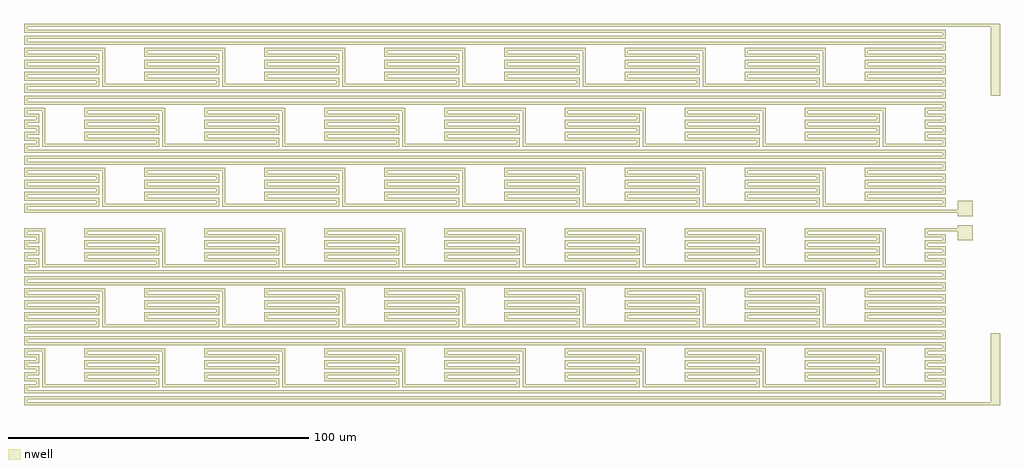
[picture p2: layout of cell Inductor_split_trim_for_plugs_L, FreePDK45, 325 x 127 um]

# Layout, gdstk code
import gdstk
lib = gdstk.Library(unit=1e-6, precision=1e-09)
def R(c, l, rs):  # rectangles x0, y0, x1, y1
    for r in rs: c.add(gdstk.rectangle(r[:2], r[2:], *l))
def P(c, l, *ps):  # polygons
    for p in ps: c.add(gdstk.Polygon(p, *l))
nwell = (3, 0)

inductor_split_trim_for_ = lib.new_cell('Inductor_split_trim_for_plugs_L')
R(inductor_split_trim_for_, nwell, [(-162.5,-63.5,144.5,-62.5), (144.5,-63.5,162.5,-62.5), (159.5,-63,162.5,-39.5), (148.5,-8.5,153.5,-3.5), (144.5,-5.5,148.5,-4.5), (148.5,-0.5,153.5,4.5), (-17.5,0.5,144.5,1.5), (144.5,0.5,148.5,1.5), (159.5,39.5,162.5,63), (-162.5,62.5,144.5,63.5), (144.5,62.5,162.5,63.5)])
P(inductor_split_trim_for_, nwell, [(-135.5,-31.5),(-135.5,-36.5),(-98.5,-36.5),(-98.5,-35.5),(-122.5,-35.5),(-122.5,-32.5),(-98.5,-32.5),(-98.5,-31.5),(-97.5,-31.5),(-97.5,-33.5),(-121.5,-33.5),(-121.5,-34.5),(-97.5,-34.5),(-97.5,-37.5),(-136.5,-37.5),(-136.5,-31.5)],
  [(-95.5,-31.5),(-95.5,-36.5),(-58.5,-36.5),(-58.5,-35.5),(-82.5,-35.5),(-82.5,-32.5),(-58.5,-32.5),(-58.5,-31.5),(-57.5,-31.5),(-57.5,-33.5),(-81.5,-33.5),(-81.5,-34.5),(-57.5,-34.5),(-57.5,-37.5),(-96.5,-37.5),(-96.5,-31.5)],
  [(-55.5,-31.5),(-55.5,-36.5),(-18.5,-36.5),(-18.5,-35.5),(-42.5,-35.5),(-42.5,-32.5),(-18.5,-32.5),(-18.5,-31.5),(-17.5,-31.5),(-17.5,-33.5),(-41.5,-33.5),(-41.5,-34.5),(-17.5,-34.5),(-17.5,-37.5),(-56.5,-37.5),(-56.5,-31.5)],
  [(-15.5,-31.5),(-15.5,-36.5),(21.5,-36.5),(21.5,-35.5),(-2.5,-35.5),(-2.5,-32.5),(21.5,-32.5),(21.5,-31.5),(22.5,-31.5),(22.5,-33.5),(-1.5,-33.5),(-1.5,-34.5),(22.5,-34.5),(22.5,-37.5),(-16.5,-37.5),(-16.5,-31.5)],
  [(24.5,-31.5),(24.5,-36.5),(61.5,-36.5),(61.5,-35.5),(37.5,-35.5),(37.5,-32.5),(61.5,-32.5),(61.5,-31.5),(62.5,-31.5),(62.5,-33.5),(38.5,-33.5),(38.5,-34.5),(62.5,-34.5),(62.5,-37.5),(23.5,-37.5),(23.5,-31.5)],
  [(64.5,-31.5),(64.5,-36.5),(101.5,-36.5),(101.5,-35.5),(77.5,-35.5),(77.5,-32.5),(101.5,-32.5),(101.5,-31.5),(102.5,-31.5),(102.5,-33.5),(78.5,-33.5),(78.5,-34.5),(102.5,-34.5),(102.5,-37.5),(63.5,-37.5),(63.5,-31.5)],
  [(104.5,-31.5),(104.5,-36.5),(143.5,-36.5),(143.5,-35.5),(117.5,-35.5),(117.5,-32.5),(143.5,-32.5),(143.5,-31.5),(144.5,-31.5),(144.5,-33.5),(118.5,-33.5),(118.5,-34.5),(144.5,-34.5),(144.5,-37.5),(103.5,-37.5),(103.5,-31.5)],
  [(-162.5,-31.5),(-162.5,-28.5),(-138.5,-28.5),(-138.5,-27.5),(-162.5,-27.5),(-162.5,-24.5),(-135.5,-24.5),(-135.5,-31.5),(-136.5,-31.5),(-136.5,-25.5),(-161.5,-25.5),(-161.5,-26.5),(-137.5,-26.5),(-137.5,-29.5),(-161.5,-29.5),(-161.5,-30.5),(-137.5,-30.5),(-137.5,-31.5)],
  [(-122.5,-31.5),(-122.5,-28.5),(-98.5,-28.5),(-98.5,-27.5),(-122.5,-27.5),(-122.5,-24.5),(-95.5,-24.5),(-95.5,-31.5),(-96.5,-31.5),(-96.5,-25.5),(-121.5,-25.5),(-121.5,-26.5),(-97.5,-26.5),(-97.5,-29.5),(-121.5,-29.5),(-121.5,-30.5),(-97.5,-30.5),(-97.5,-31.5)],
  [(-82.5,-31.5),(-82.5,-28.5),(-58.5,-28.5),(-58.5,-27.5),(-82.5,-27.5),(-82.5,-24.5),(-55.5,-24.5),(-55.5,-31.5),(-56.5,-31.5),(-56.5,-25.5),(-81.5,-25.5),(-81.5,-26.5),(-57.5,-26.5),(-57.5,-29.5),(-81.5,-29.5),(-81.5,-30.5),(-57.5,-30.5),(-57.5,-31.5)],
  [(-42.5,-31.5),(-42.5,-28.5),(-18.5,-28.5),(-18.5,-27.5),(-42.5,-27.5),(-42.5,-24.5),(-15.5,-24.5),(-15.5,-31.5),(-16.5,-31.5),(-16.5,-25.5),(-41.5,-25.5),(-41.5,-26.5),(-17.5,-26.5),(-17.5,-29.5),(-41.5,-29.5),(-41.5,-30.5),(-17.5,-30.5),(-17.5,-31.5)],
  [(-2.5,-31.5),(-2.5,-28.5),(21.5,-28.5),(21.5,-27.5),(-2.5,-27.5),(-2.5,-24.5),(24.5,-24.5),(24.5,-31.5),(23.5,-31.5),(23.5,-25.5),(-1.5,-25.5),(-1.5,-26.5),(22.5,-26.5),(22.5,-29.5),(-1.5,-29.5),(-1.5,-30.5),(22.5,-30.5),(22.5,-31.5)],
  [(37.5,-31.5),(37.5,-28.5),(61.5,-28.5),(61.5,-27.5),(37.5,-27.5),(37.5,-24.5),(64.5,-24.5),(64.5,-31.5),(63.5,-31.5),(63.5,-25.5),(38.5,-25.5),(38.5,-26.5),(62.5,-26.5),(62.5,-29.5),(38.5,-29.5),(38.5,-30.5),(62.5,-30.5),(62.5,-31.5)],
  [(77.5,-31.5),(77.5,-28.5),(101.5,-28.5),(101.5,-27.5),(77.5,-27.5),(77.5,-24.5),(104.5,-24.5),(104.5,-31.5),(103.5,-31.5),(103.5,-25.5),(78.5,-25.5),(78.5,-26.5),(102.5,-26.5),(102.5,-29.5),(78.5,-29.5),(78.5,-30.5),(102.5,-30.5),(102.5,-31.5)],
  [(-22.5,-61.5),(-161.5,-61.5),(-161.5,-62.5),(-162.5,-62.5),(-162.5,-60.5),(-22.5,-60.5)],
  [(-22.5,-59.5),(-162.5,-59.5),(-162.5,-56.5),(-158.5,-56.5),(-158.5,-55.5),(-162.5,-55.5),(-162.5,-52.5),(-158.5,-52.5),(-158.5,-51.5),(-162.5,-51.5),(-162.5,-48.5),(-158.5,-48.5),(-158.5,-47.5),(-162.5,-47.5),(-162.5,-44.5),(-155.5,-44.5),(-155.5,-56.5),(-118.5,-56.5),(-118.5,-55.5),(-142.5,-55.5),(-142.5,-52.5),(-118.5,-52.5),(-118.5,-51.5),(-142.5,-51.5),(-142.5,-48.5),(-118.5,-48.5),(-118.5,-47.5),(-142.5,-47.5),(-142.5,-44.5),(-115.5,-44.5),(-115.5,-56.5),(-78.5,-56.5),(-78.5,-55.5),(-102.5,-55.5),(-102.5,-52.5),(-78.5,-52.5),(-78.5,-51.5),(-102.5,-51.5),(-102.5,-48.5),(-78.5,-48.5),(-78.5,-47.5),(-102.5,-47.5),(-102.5,-44.5),(-75.5,-44.5),(-75.5,-56.5),(-38.5,-56.5),(-38.5,-55.5),(-62.5,-55.5),(-62.5,-52.5),(-38.5,-52.5),(-38.5,-51.5),(-62.5,-51.5),(-62.5,-48.5),(-38.5,-48.5),(-38.5,-47.5),(-62.5,-47.5),(-62.5,-44.5),(-35.5,-44.5),(-35.5,-56.5),(-22.5,-56.5),(-22.5,-57.5),(-36.5,-57.5),(-36.5,-45.5),(-61.5,-45.5),(-61.5,-46.5),(-37.5,-46.5),(-37.5,-49.5),(-61.5,-49.5),(-61.5,-50.5),(-37.5,-50.5),(-37.5,-53.5),(-61.5,-53.5),(-61.5,-54.5),(-37.5,-54.5),(-37.5,-57.5),(-76.5,-57.5),(-76.5,-45.5),(-101.5,-45.5),(-101.5,-46.5),(-77.5,-46.5),(-77.5,-49.5),(-101.5,-49.5),(-101.5,-50.5),(-77.5,-50.5),(-77.5,-53.5),(-101.5,-53.5),(-101.5,-54.5),(-77.5,-54.5),(-77.5,-57.5),(-116.5,-57.5),(-116.5,-45.5),(-141.5,-45.5),(-141.5,-46.5),(-117.5,-46.5),(-117.5,-49.5),(-141.5,-49.5),(-141.5,-50.5),(-117.5,-50.5),(-117.5,-53.5),(-141.5,-53.5),(-141.5,-54.5),(-117.5,-54.5),(-117.5,-57.5),(-156.5,-57.5),(-156.5,-45.5),(-161.5,-45.5),(-161.5,-46.5),(-157.5,-46.5),(-157.5,-49.5),(-161.5,-49.5),(-161.5,-50.5),(-157.5,-50.5),(-157.5,-53.5),(-161.5,-53.5),(-161.5,-54.5),(-157.5,-54.5),(-157.5,-57.5),(-161.5,-57.5),(-161.5,-58.5),(-22.5,-58.5)],
  [(-22.5,-43.5),(-162.5,-43.5),(-162.5,-40.5),(-22.5,-40.5),(-22.5,-41.5),(-161.5,-41.5),(-161.5,-42.5),(-22.5,-42.5)],
  [(-22.5,-39.5),(-162.5,-39.5),(-162.5,-36.5),(-138.5,-36.5),(-138.5,-35.5),(-162.5,-35.5),(-162.5,-32.5),(-138.5,-32.5),(-138.5,-31.5),(-137.5,-31.5),(-137.5,-33.5),(-161.5,-33.5),(-161.5,-34.5),(-137.5,-34.5),(-137.5,-37.5),(-161.5,-37.5),(-161.5,-38.5),(-22.5,-38.5)],
  [(-22.5,-60.5),(143.5,-60.5),(143.5,-59.5),(-22.5,-59.5),(-22.5,-58.5),(144.5,-58.5),(144.5,-61.5),(-22.5,-61.5)],
  [(-22.5,-56.5),(1.5,-56.5),(1.5,-55.5),(-22.5,-55.5),(-22.5,-52.5),(1.5,-52.5),(1.5,-51.5),(-22.5,-51.5),(-22.5,-48.5),(1.5,-48.5),(1.5,-47.5),(-22.5,-47.5),(-22.5,-44.5),(4.5,-44.5),(4.5,-56.5),(41.5,-56.5),(41.5,-55.5),(17.5,-55.5),(17.5,-52.5),(41.5,-52.5),(41.5,-51.5),(17.5,-51.5),(17.5,-48.5),(41.5,-48.5),(41.5,-47.5),(17.5,-47.5),(17.5,-44.5),(44.5,-44.5),(44.5,-56.5),(81.5,-56.5),(81.5,-55.5),(57.5,-55.5),(57.5,-52.5),(81.5,-52.5),(81.5,-51.5),(57.5,-51.5),(57.5,-48.5),(81.5,-48.5),(81.5,-47.5),(57.5,-47.5),(57.5,-44.5),(84.5,-44.5),(84.5,-56.5),(121.5,-56.5),(121.5,-55.5),(97.5,-55.5),(97.5,-52.5),(121.5,-52.5),(121.5,-51.5),(97.5,-51.5),(97.5,-48.5),(121.5,-48.5),(121.5,-47.5),(97.5,-47.5),(97.5,-44.5),(124.5,-44.5),(124.5,-56.5),(143.5,-56.5),(143.5,-55.5),(137.5,-55.5),(137.5,-52.5),(143.5,-52.5),(143.5,-51.5),(137.5,-51.5),(137.5,-48.5),(143.5,-48.5),(143.5,-47.5),(137.5,-47.5),(137.5,-44.5),(143.5,-44.5),(143.5,-43.5),(-22.5,-43.5),(-22.5,-42.5),(144.5,-42.5),(144.5,-45.5),(138.5,-45.5),(138.5,-46.5),(144.5,-46.5),(144.5,-49.5),(138.5,-49.5),(138.5,-50.5),(144.5,-50.5),(144.5,-53.5),(138.5,-53.5),(138.5,-54.5),(144.5,-54.5),(144.5,-57.5),(123.5,-57.5),(123.5,-45.5),(98.5,-45.5),(98.5,-46.5),(122.5,-46.5),(122.5,-49.5),(98.5,-49.5),(98.5,-50.5),(122.5,-50.5),(122.5,-53.5),(98.5,-53.5),(98.5,-54.5),(122.5,-54.5),(122.5,-57.5),(83.5,-57.5),(83.5,-45.5),(58.5,-45.5),(58.5,-46.5),(82.5,-46.5),(82.5,-49.5),(58.5,-49.5),(58.5,-50.5),(82.5,-50.5),(82.5,-53.5),(58.5,-53.5),(58.5,-54.5),(82.5,-54.5),(82.5,-57.5),(43.5,-57.5),(43.5,-45.5),(18.5,-45.5),(18.5,-46.5),(42.5,-46.5),(42.5,-49.5),(18.5,-49.5),(18.5,-50.5),(42.5,-50.5),(42.5,-53.5),(18.5,-53.5),(18.5,-54.5),(42.5,-54.5),(42.5,-57.5),(3.5,-57.5),(3.5,-45.5),(-21.5,-45.5),(-21.5,-46.5),(2.5,-46.5),(2.5,-49.5),(-21.5,-49.5),(-21.5,-50.5),(2.5,-50.5),(2.5,-53.5),(-21.5,-53.5),(-21.5,-54.5),(2.5,-54.5),(2.5,-57.5),(-22.5,-57.5)],
  [(-22.5,-40.5),(143.5,-40.5),(143.5,-39.5),(-22.5,-39.5),(-22.5,-38.5),(144.5,-38.5),(144.5,-41.5),(-22.5,-41.5)],
  [(2.5,-23.5),(-162.5,-23.5),(-162.5,-20.5),(2.5,-20.5),(2.5,-21.5),(-161.5,-21.5),(-161.5,-22.5),(2.5,-22.5)],
  [(2.5,-19.5),(-162.5,-19.5),(-162.5,-16.5),(-158.5,-16.5),(-158.5,-15.5),(-162.5,-15.5),(-162.5,-12.5),(-158.5,-12.5),(-158.5,-11.5),(-162.5,-11.5),(-162.5,-8.5),(-158.5,-8.5),(-158.5,-7.5),(-162.5,-7.5),(-162.5,-4.5),(-155.5,-4.5),(-155.5,-16.5),(-118.5,-16.5),(-118.5,-15.5),(-142.5,-15.5),(-142.5,-12.5),(-118.5,-12.5),(-118.5,-11.5),(-142.5,-11.5),(-142.5,-8.5),(-118.5,-8.5),(-118.5,-7.5),(-142.5,-7.5),(-142.5,-4.5),(-115.5,-4.5),(-115.5,-16.5),(-78.5,-16.5),(-78.5,-15.5),(-102.5,-15.5),(-102.5,-12.5),(-78.5,-12.5),(-78.5,-11.5),(-102.5,-11.5),(-102.5,-8.5),(-78.5,-8.5),(-78.5,-7.5),(-102.5,-7.5),(-102.5,-4.5),(-75.5,-4.5),(-75.5,-16.5),(-38.5,-16.5),(-38.5,-15.5),(-62.5,-15.5),(-62.5,-12.5),(-38.5,-12.5),(-38.5,-11.5),(-62.5,-11.5),(-62.5,-8.5),(-38.5,-8.5),(-38.5,-7.5),(-62.5,-7.5),(-62.5,-4.5),(-35.5,-4.5),(-35.5,-16.5),(1.5,-16.5),(1.5,-15.5),(-22.5,-15.5),(-22.5,-12.5),(1.5,-12.5),(1.5,-11.5),(-22.5,-11.5),(-22.5,-8.5),(1.5,-8.5),(1.5,-7.5),(-22.5,-7.5),(-22.5,-4.5),(2.5,-4.5),(2.5,-5.5),(-21.5,-5.5),(-21.5,-6.5),(2.5,-6.5),(2.5,-9.5),(-21.5,-9.5),(-21.5,-10.5),(2.5,-10.5),(2.5,-13.5),(-21.5,-13.5),(-21.5,-14.5),(2.5,-14.5),(2.5,-17.5),(-36.5,-17.5),(-36.5,-5.5),(-61.5,-5.5),(-61.5,-6.5),(-37.5,-6.5),(-37.5,-9.5),(-61.5,-9.5),(-61.5,-10.5),(-37.5,-10.5),(-37.5,-13.5),(-61.5,-13.5),(-61.5,-14.5),(-37.5,-14.5),(-37.5,-17.5),(-76.5,-17.5),(-76.5,-5.5),(-101.5,-5.5),(-101.5,-6.5),(-77.5,-6.5),(-77.5,-9.5),(-101.5,-9.5),(-101.5,-10.5),(-77.5,-10.5),(-77.5,-13.5),(-101.5,-13.5),(-101.5,-14.5),(-77.5,-14.5),(-77.5,-17.5),(-116.5,-17.5),(-116.5,-5.5),(-141.5,-5.5),(-141.5,-6.5),(-117.5,-6.5),(-117.5,-9.5),(-141.5,-9.5),(-141.5,-10.5),(-117.5,-10.5),(-117.5,-13.5),(-141.5,-13.5),(-141.5,-14.5),(-117.5,-14.5),(-117.5,-17.5),(-156.5,-17.5),(-156.5,-5.5),(-161.5,-5.5),(-161.5,-6.5),(-157.5,-6.5),(-157.5,-9.5),(-161.5,-9.5),(-161.5,-10.5),(-157.5,-10.5),(-157.5,-13.5),(-161.5,-13.5),(-161.5,-14.5),(-157.5,-14.5),(-157.5,-17.5),(-161.5,-17.5),(-161.5,-18.5),(2.5,-18.5)],
  [(2.5,-22.5),(144.5,-22.5),(144.5,-25.5),(118.5,-25.5),(118.5,-26.5),(144.5,-26.5),(144.5,-29.5),(118.5,-29.5),(118.5,-30.5),(144.5,-30.5),(144.5,-31.5),(117.5,-31.5),(117.5,-28.5),(143.5,-28.5),(143.5,-27.5),(117.5,-27.5),(117.5,-24.5),(143.5,-24.5),(143.5,-23.5),(2.5,-23.5)],
  [(2.5,-20.5),(143.5,-20.5),(143.5,-19.5),(2.5,-19.5),(2.5,-18.5),(144.5,-18.5),(144.5,-21.5),(2.5,-21.5)],
  [(2.5,-4.5),(4.5,-4.5),(4.5,-16.5),(41.5,-16.5),(41.5,-15.5),(17.5,-15.5),(17.5,-12.5),(41.5,-12.5),(41.5,-11.5),(17.5,-11.5),(17.5,-8.5),(41.5,-8.5),(41.5,-7.5),(17.5,-7.5),(17.5,-4.5),(44.5,-4.5),(44.5,-16.5),(81.5,-16.5),(81.5,-15.5),(57.5,-15.5),(57.5,-12.5),(81.5,-12.5),(81.5,-11.5),(57.5,-11.5),(57.5,-8.5),(81.5,-8.5),(81.5,-7.5),(57.5,-7.5),(57.5,-4.5),(84.5,-4.5),(84.5,-16.5),(121.5,-16.5),(121.5,-15.5),(97.5,-15.5),(97.5,-12.5),(121.5,-12.5),(121.5,-11.5),(97.5,-11.5),(97.5,-8.5),(121.5,-8.5),(121.5,-7.5),(97.5,-7.5),(97.5,-4.5),(124.5,-4.5),(124.5,-16.5),(143.5,-16.5),(143.5,-15.5),(137.5,-15.5),(137.5,-12.5),(143.5,-12.5),(143.5,-11.5),(137.5,-11.5),(137.5,-8.5),(143.5,-8.5),(143.5,-7.5),(137.5,-7.5),(137.5,-4.5),(144.5,-4.5),(144.5,-5.5),(138.5,-5.5),(138.5,-6.5),(144.5,-6.5),(144.5,-9.5),(138.5,-9.5),(138.5,-10.5),(144.5,-10.5),(144.5,-13.5),(138.5,-13.5),(138.5,-14.5),(144.5,-14.5),(144.5,-17.5),(123.5,-17.5),(123.5,-5.5),(98.5,-5.5),(98.5,-6.5),(122.5,-6.5),(122.5,-9.5),(98.5,-9.5),(98.5,-10.5),(122.5,-10.5),(122.5,-13.5),(98.5,-13.5),(98.5,-14.5),(122.5,-14.5),(122.5,-17.5),(83.5,-17.5),(83.5,-5.5),(58.5,-5.5),(58.5,-6.5),(82.5,-6.5),(82.5,-9.5),(58.5,-9.5),(58.5,-10.5),(82.5,-10.5),(82.5,-13.5),(58.5,-13.5),(58.5,-14.5),(82.5,-14.5),(82.5,-17.5),(43.5,-17.5),(43.5,-5.5),(18.5,-5.5),(18.5,-6.5),(42.5,-6.5),(42.5,-9.5),(18.5,-9.5),(18.5,-10.5),(42.5,-10.5),(42.5,-13.5),(18.5,-13.5),(18.5,-14.5),(42.5,-14.5),(42.5,-17.5),(3.5,-17.5),(3.5,-5.5),(2.5,-5.5)],
  [(-155.5,29.5),(-155.5,23.5),(-118.5,23.5),(-118.5,24.5),(-142.5,24.5),(-142.5,27.5),(-118.5,27.5),(-118.5,28.5),(-142.5,28.5),(-142.5,29.5),(-117.5,29.5),(-117.5,26.5),(-141.5,26.5),(-141.5,25.5),(-117.5,25.5),(-117.5,22.5),(-156.5,22.5),(-156.5,29.5)],
  [(-115.5,29.5),(-115.5,23.5),(-78.5,23.5),(-78.5,24.5),(-102.5,24.5),(-102.5,27.5),(-78.5,27.5),(-78.5,28.5),(-102.5,28.5),(-102.5,29.5),(-77.5,29.5),(-77.5,26.5),(-101.5,26.5),(-101.5,25.5),(-77.5,25.5),(-77.5,22.5),(-116.5,22.5),(-116.5,29.5)],
  [(-75.5,29.5),(-75.5,23.5),(-38.5,23.5),(-38.5,24.5),(-62.5,24.5),(-62.5,27.5),(-38.5,27.5),(-38.5,28.5),(-62.5,28.5),(-62.5,29.5),(-37.5,29.5),(-37.5,26.5),(-61.5,26.5),(-61.5,25.5),(-37.5,25.5),(-37.5,22.5),(-76.5,22.5),(-76.5,29.5)],
  [(-35.5,29.5),(-35.5,23.5),(1.5,23.5),(1.5,24.5),(-22.5,24.5),(-22.5,27.5),(1.5,27.5),(1.5,28.5),(-22.5,28.5),(-22.5,29.5),(2.5,29.5),(2.5,26.5),(-21.5,26.5),(-21.5,25.5),(2.5,25.5),(2.5,22.5),(-36.5,22.5),(-36.5,29.5)],
  [(4.5,29.5),(4.5,23.5),(41.5,23.5),(41.5,24.5),(17.5,24.5),(17.5,27.5),(41.5,27.5),(41.5,28.5),(17.5,28.5),(17.5,29.5),(42.5,29.5),(42.5,26.5),(18.5,26.5),(18.5,25.5),(42.5,25.5),(42.5,22.5),(3.5,22.5),(3.5,29.5)],
  [(44.5,29.5),(44.5,23.5),(81.5,23.5),(81.5,24.5),(57.5,24.5),(57.5,27.5),(81.5,27.5),(81.5,28.5),(57.5,28.5),(57.5,29.5),(82.5,29.5),(82.5,26.5),(58.5,26.5),(58.5,25.5),(82.5,25.5),(82.5,22.5),(43.5,22.5),(43.5,29.5)],
  [(84.5,29.5),(84.5,23.5),(121.5,23.5),(121.5,24.5),(97.5,24.5),(97.5,27.5),(121.5,27.5),(121.5,28.5),(97.5,28.5),(97.5,29.5),(122.5,29.5),(122.5,26.5),(98.5,26.5),(98.5,25.5),(122.5,25.5),(122.5,22.5),(83.5,22.5),(83.5,29.5)],
  [(124.5,29.5),(124.5,23.5),(143.5,23.5),(143.5,24.5),(137.5,24.5),(137.5,27.5),(143.5,27.5),(143.5,28.5),(137.5,28.5),(137.5,29.5),(144.5,29.5),(144.5,26.5),(138.5,26.5),(138.5,25.5),(144.5,25.5),(144.5,22.5),(123.5,22.5),(123.5,29.5)],
  [(-162.5,29.5),(-162.5,31.5),(-158.5,31.5),(-158.5,32.5),(-162.5,32.5),(-162.5,35.5),(-155.5,35.5),(-155.5,29.5),(-156.5,29.5),(-156.5,34.5),(-161.5,34.5),(-161.5,33.5),(-157.5,33.5),(-157.5,30.5),(-161.5,30.5),(-161.5,29.5)],
  [(-142.5,29.5),(-142.5,31.5),(-118.5,31.5),(-118.5,32.5),(-142.5,32.5),(-142.5,35.5),(-115.5,35.5),(-115.5,29.5),(-116.5,29.5),(-116.5,34.5),(-141.5,34.5),(-141.5,33.5),(-117.5,33.5),(-117.5,30.5),(-141.5,30.5),(-141.5,29.5)],
  [(-102.5,29.5),(-102.5,31.5),(-78.5,31.5),(-78.5,32.5),(-102.5,32.5),(-102.5,35.5),(-75.5,35.5),(-75.5,29.5),(-76.5,29.5),(-76.5,34.5),(-101.5,34.5),(-101.5,33.5),(-77.5,33.5),(-77.5,30.5),(-101.5,30.5),(-101.5,29.5)],
  [(-62.5,29.5),(-62.5,31.5),(-38.5,31.5),(-38.5,32.5),(-62.5,32.5),(-62.5,35.5),(-35.5,35.5),(-35.5,29.5),(-36.5,29.5),(-36.5,34.5),(-61.5,34.5),(-61.5,33.5),(-37.5,33.5),(-37.5,30.5),(-61.5,30.5),(-61.5,29.5)],
  [(-22.5,29.5),(-22.5,31.5),(1.5,31.5),(1.5,32.5),(-22.5,32.5),(-22.5,35.5),(4.5,35.5),(4.5,29.5),(3.5,29.5),(3.5,34.5),(-21.5,34.5),(-21.5,33.5),(2.5,33.5),(2.5,30.5),(-21.5,30.5),(-21.5,29.5)],
  [(17.5,29.5),(17.5,31.5),(41.5,31.5),(41.5,32.5),(17.5,32.5),(17.5,35.5),(44.5,35.5),(44.5,29.5),(43.5,29.5),(43.5,34.5),(18.5,34.5),(18.5,33.5),(42.5,33.5),(42.5,30.5),(18.5,30.5),(18.5,29.5)],
  [(57.5,29.5),(57.5,31.5),(81.5,31.5),(81.5,32.5),(57.5,32.5),(57.5,35.5),(84.5,35.5),(84.5,29.5),(83.5,29.5),(83.5,34.5),(58.5,34.5),(58.5,33.5),(82.5,33.5),(82.5,30.5),(58.5,30.5),(58.5,29.5)],
  [(97.5,29.5),(97.5,31.5),(121.5,31.5),(121.5,32.5),(97.5,32.5),(97.5,35.5),(124.5,35.5),(124.5,29.5),(123.5,29.5),(123.5,34.5),(98.5,34.5),(98.5,33.5),(122.5,33.5),(122.5,30.5),(98.5,30.5),(98.5,29.5)],
  [(-17.5,0.5),(-162.5,0.5),(-162.5,3.5),(-138.5,3.5),(-138.5,4.5),(-162.5,4.5),(-162.5,7.5),(-138.5,7.5),(-138.5,8.5),(-162.5,8.5),(-162.5,11.5),(-138.5,11.5),(-138.5,12.5),(-162.5,12.5),(-162.5,15.5),(-135.5,15.5),(-135.5,3.5),(-98.5,3.5),(-98.5,4.5),(-122.5,4.5),(-122.5,7.5),(-98.5,7.5),(-98.5,8.5),(-122.5,8.5),(-122.5,11.5),(-98.5,11.5),(-98.5,12.5),(-122.5,12.5),(-122.5,15.5),(-95.5,15.5),(-95.5,3.5),(-58.5,3.5),(-58.5,4.5),(-82.5,4.5),(-82.5,7.5),(-58.5,7.5),(-58.5,8.5),(-82.5,8.5),(-82.5,11.5),(-58.5,11.5),(-58.5,12.5),(-82.5,12.5),(-82.5,15.5),(-55.5,15.5),(-55.5,3.5),(-18.5,3.5),(-18.5,4.5),(-42.5,4.5),(-42.5,7.5),(-18.5,7.5),(-18.5,8.5),(-42.5,8.5),(-42.5,11.5),(-18.5,11.5),(-18.5,12.5),(-42.5,12.5),(-42.5,15.5),(-17.5,15.5),(-17.5,14.5),(-41.5,14.5),(-41.5,13.5),(-17.5,13.5),(-17.5,10.5),(-41.5,10.5),(-41.5,9.5),(-17.5,9.5),(-17.5,6.5),(-41.5,6.5),(-41.5,5.5),(-17.5,5.5),(-17.5,2.5),(-56.5,2.5),(-56.5,14.5),(-81.5,14.5),(-81.5,13.5),(-57.5,13.5),(-57.5,10.5),(-81.5,10.5),(-81.5,9.5),(-57.5,9.5),(-57.5,6.5),(-81.5,6.5),(-81.5,5.5),(-57.5,5.5),(-57.5,2.5),(-96.5,2.5),(-96.5,14.5),(-121.5,14.5),(-121.5,13.5),(-97.5,13.5),(-97.5,10.5),(-121.5,10.5),(-121.5,9.5),(-97.5,9.5),(-97.5,6.5),(-121.5,6.5),(-121.5,5.5),(-97.5,5.5),(-97.5,2.5),(-136.5,2.5),(-136.5,14.5),(-161.5,14.5),(-161.5,13.5),(-137.5,13.5),(-137.5,10.5),(-161.5,10.5),(-161.5,9.5),(-137.5,9.5),(-137.5,6.5),(-161.5,6.5),(-161.5,5.5),(-137.5,5.5),(-137.5,2.5),(-161.5,2.5),(-161.5,1.5),(-17.5,1.5)],
  [(-17.5,16.5),(-162.5,16.5),(-162.5,19.5),(-17.5,19.5),(-17.5,18.5),(-161.5,18.5),(-161.5,17.5),(-17.5,17.5)],
  [(-17.5,20.5),(-162.5,20.5),(-162.5,23.5),(-158.5,23.5),(-158.5,24.5),(-162.5,24.5),(-162.5,27.5),(-158.5,27.5),(-158.5,28.5),(-162.5,28.5),(-162.5,29.5),(-157.5,29.5),(-157.5,26.5),(-161.5,26.5),(-161.5,25.5),(-157.5,25.5),(-157.5,22.5),(-161.5,22.5),(-161.5,21.5),(-17.5,21.5)],
  [(-17.5,15.5),(-15.5,15.5),(-15.5,3.5),(21.5,3.5),(21.5,4.5),(-2.5,4.5),(-2.5,7.5),(21.5,7.5),(21.5,8.5),(-2.5,8.5),(-2.5,11.5),(21.5,11.5),(21.5,12.5),(-2.5,12.5),(-2.5,15.5),(24.5,15.5),(24.5,3.5),(61.5,3.5),(61.5,4.5),(37.5,4.5),(37.5,7.5),(61.5,7.5),(61.5,8.5),(37.5,8.5),(37.5,11.5),(61.5,11.5),(61.5,12.5),(37.5,12.5),(37.5,15.5),(64.5,15.5),(64.5,3.5),(101.5,3.5),(101.5,4.5),(77.5,4.5),(77.5,7.5),(101.5,7.5),(101.5,8.5),(77.5,8.5),(77.5,11.5),(101.5,11.5),(101.5,12.5),(77.5,12.5),(77.5,15.5),(104.5,15.5),(104.5,3.5),(143.5,3.5),(143.5,4.5),(117.5,4.5),(117.5,7.5),(143.5,7.5),(143.5,8.5),(117.5,8.5),(117.5,11.5),(143.5,11.5),(143.5,12.5),(117.5,12.5),(117.5,15.5),(143.5,15.5),(143.5,16.5),(-17.5,16.5),(-17.5,17.5),(144.5,17.5),(144.5,14.5),(118.5,14.5),(118.5,13.5),(144.5,13.5),(144.5,10.5),(118.5,10.5),(118.5,9.5),(144.5,9.5),(144.5,6.5),(118.5,6.5),(118.5,5.5),(144.5,5.5),(144.5,2.5),(103.5,2.5),(103.5,14.5),(78.5,14.5),(78.5,13.5),(102.5,13.5),(102.5,10.5),(78.5,10.5),(78.5,9.5),(102.5,9.5),(102.5,6.5),(78.5,6.5),(78.5,5.5),(102.5,5.5),(102.5,2.5),(63.5,2.5),(63.5,14.5),(38.5,14.5),(38.5,13.5),(62.5,13.5),(62.5,10.5),(38.5,10.5),(38.5,9.5),(62.5,9.5),(62.5,6.5),(38.5,6.5),(38.5,5.5),(62.5,5.5),(62.5,2.5),(23.5,2.5),(23.5,14.5),(-1.5,14.5),(-1.5,13.5),(22.5,13.5),(22.5,10.5),(-1.5,10.5),(-1.5,9.5),(22.5,9.5),(22.5,6.5),(-1.5,6.5),(-1.5,5.5),(22.5,5.5),(22.5,2.5),(-16.5,2.5),(-16.5,14.5),(-17.5,14.5)],
  [(-17.5,19.5),(143.5,19.5),(143.5,20.5),(-17.5,20.5),(-17.5,21.5),(144.5,21.5),(144.5,18.5),(-17.5,18.5)],
  [(-2.5,36.5),(-162.5,36.5),(-162.5,39.5),(-2.5,39.5),(-2.5,38.5),(-161.5,38.5),(-161.5,37.5),(-2.5,37.5)],
  [(-2.5,40.5),(-162.5,40.5),(-162.5,43.5),(-138.5,43.5),(-138.5,44.5),(-162.5,44.5),(-162.5,47.5),(-138.5,47.5),(-138.5,48.5),(-162.5,48.5),(-162.5,51.5),(-138.5,51.5),(-138.5,52.5),(-162.5,52.5),(-162.5,55.5),(-135.5,55.5),(-135.5,43.5),(-98.5,43.5),(-98.5,44.5),(-122.5,44.5),(-122.5,47.5),(-98.5,47.5),(-98.5,48.5),(-122.5,48.5),(-122.5,51.5),(-98.5,51.5),(-98.5,52.5),(-122.5,52.5),(-122.5,55.5),(-95.5,55.5),(-95.5,43.5),(-58.5,43.5),(-58.5,44.5),(-82.5,44.5),(-82.5,47.5),(-58.5,47.5),(-58.5,48.5),(-82.5,48.5),(-82.5,51.5),(-58.5,51.5),(-58.5,52.5),(-82.5,52.5),(-82.5,55.5),(-55.5,55.5),(-55.5,43.5),(-18.5,43.5),(-18.5,44.5),(-42.5,44.5),(-42.5,47.5),(-18.5,47.5),(-18.5,48.5),(-42.5,48.5),(-42.5,51.5),(-18.5,51.5),(-18.5,52.5),(-42.5,52.5),(-42.5,55.5),(-15.5,55.5),(-15.5,43.5),(-2.5,43.5),(-2.5,42.5),(-16.5,42.5),(-16.5,54.5),(-41.5,54.5),(-41.5,53.5),(-17.5,53.5),(-17.5,50.5),(-41.5,50.5),(-41.5,49.5),(-17.5,49.5),(-17.5,46.5),(-41.5,46.5),(-41.5,45.5),(-17.5,45.5),(-17.5,42.5),(-56.5,42.5),(-56.5,54.5),(-81.5,54.5),(-81.5,53.5),(-57.5,53.5),(-57.5,50.5),(-81.5,50.5),(-81.5,49.5),(-57.5,49.5),(-57.5,46.5),(-81.5,46.5),(-81.5,45.5),(-57.5,45.5),(-57.5,42.5),(-96.5,42.5),(-96.5,54.5),(-121.5,54.5),(-121.5,53.5),(-97.5,53.5),(-97.5,50.5),(-121.5,50.5),(-121.5,49.5),(-97.5,49.5),(-97.5,46.5),(-121.5,46.5),(-121.5,45.5),(-97.5,45.5),(-97.5,42.5),(-136.5,42.5),(-136.5,54.5),(-161.5,54.5),(-161.5,53.5),(-137.5,53.5),(-137.5,50.5),(-161.5,50.5),(-161.5,49.5),(-137.5,49.5),(-137.5,46.5),(-161.5,46.5),(-161.5,45.5),(-137.5,45.5),(-137.5,42.5),(-161.5,42.5),(-161.5,41.5),(-2.5,41.5)],
  [(-2.5,56.5),(-162.5,56.5),(-162.5,59.5),(-2.5,59.5),(-2.5,58.5),(-161.5,58.5),(-161.5,57.5),(-2.5,57.5)],
  [(-2.5,60.5),(-162.5,60.5),(-162.5,62.5),(-161.5,62.5),(-161.5,61.5),(-2.5,61.5)],
  [(-2.5,37.5),(144.5,37.5),(144.5,34.5),(138.5,34.5),(138.5,33.5),(144.5,33.5),(144.5,30.5),(138.5,30.5),(138.5,29.5),(137.5,29.5),(137.5,31.5),(143.5,31.5),(143.5,32.5),(137.5,32.5),(137.5,35.5),(143.5,35.5),(143.5,36.5),(-2.5,36.5)],
  [(-2.5,39.5),(143.5,39.5),(143.5,40.5),(-2.5,40.5),(-2.5,41.5),(144.5,41.5),(144.5,38.5),(-2.5,38.5)],
  [(-2.5,43.5),(21.5,43.5),(21.5,44.5),(-2.5,44.5),(-2.5,47.5),(21.5,47.5),(21.5,48.5),(-2.5,48.5),(-2.5,51.5),(21.5,51.5),(21.5,52.5),(-2.5,52.5),(-2.5,55.5),(24.5,55.5),(24.5,43.5),(61.5,43.5),(61.5,44.5),(37.5,44.5),(37.5,47.5),(61.5,47.5),(61.5,48.5),(37.5,48.5),(37.5,51.5),(61.5,51.5),(61.5,52.5),(37.5,52.5),(37.5,55.5),(64.5,55.5),(64.5,43.5),(101.5,43.5),(101.5,44.5),(77.5,44.5),(77.5,47.5),(101.5,47.5),(101.5,48.5),(77.5,48.5),(77.5,51.5),(101.5,51.5),(101.5,52.5),(77.5,52.5),(77.5,55.5),(104.5,55.5),(104.5,43.5),(143.5,43.5),(143.5,44.5),(117.5,44.5),(117.5,47.5),(143.5,47.5),(143.5,48.5),(117.5,48.5),(117.5,51.5),(143.5,51.5),(143.5,52.5),(117.5,52.5),(117.5,55.5),(143.5,55.5),(143.5,56.5),(-2.5,56.5),(-2.5,57.5),(144.5,57.5),(144.5,54.5),(118.5,54.5),(118.5,53.5),(144.5,53.5),(144.5,50.5),(118.5,50.5),(118.5,49.5),(144.5,49.5),(144.5,46.5),(118.5,46.5),(118.5,45.5),(144.5,45.5),(144.5,42.5),(103.5,42.5),(103.5,54.5),(78.5,54.5),(78.5,53.5),(102.5,53.5),(102.5,50.5),(78.5,50.5),(78.5,49.5),(102.5,49.5),(102.5,46.5),(78.5,46.5),(78.5,45.5),(102.5,45.5),(102.5,42.5),(63.5,42.5),(63.5,54.5),(38.5,54.5),(38.5,53.5),(62.5,53.5),(62.5,50.5),(38.5,50.5),(38.5,49.5),(62.5,49.5),(62.5,46.5),(38.5,46.5),(38.5,45.5),(62.5,45.5),(62.5,42.5),(23.5,42.5),(23.5,54.5),(-1.5,54.5),(-1.5,53.5),(22.5,53.5),(22.5,50.5),(-1.5,50.5),(-1.5,49.5),(22.5,49.5),(22.5,46.5),(-1.5,46.5),(-1.5,45.5),(22.5,45.5),(22.5,42.5),(-2.5,42.5)],
  [(-2.5,59.5),(143.5,59.5),(143.5,60.5),(-2.5,60.5),(-2.5,61.5),(144.5,61.5),(144.5,58.5),(-2.5,58.5)])

lib.write_gds('Inductor_split_trim_for_plugs_L.gds')
